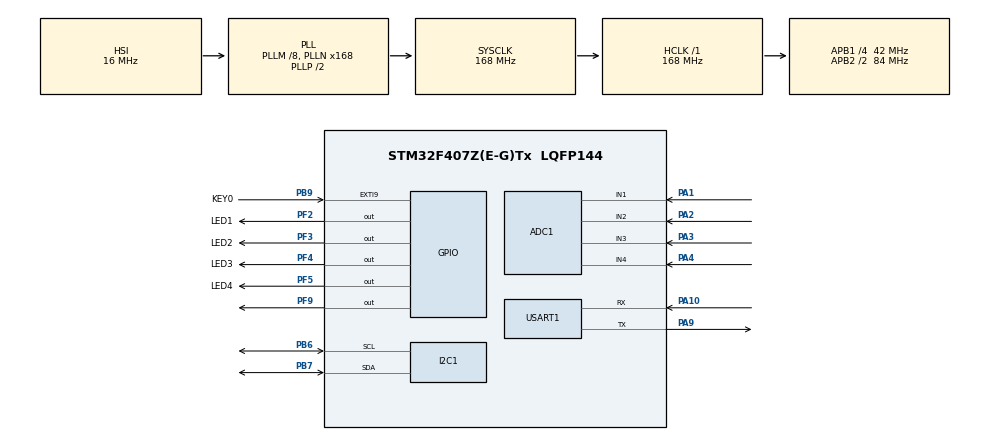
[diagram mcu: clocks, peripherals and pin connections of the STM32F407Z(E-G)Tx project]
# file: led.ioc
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ADC1.Channel-0\#ChannelRegularConversion=ADC_CHANNEL_1
ADC1.Channel-1\#ChannelRegularConversion=ADC_CHANNEL_2
ADC1.Channel-2\#ChannelRegularConversion=ADC_CHANNEL_3
ADC1.Channel-3\#ChannelRegularConversion=ADC_CHANNEL_4
ADC1.ClockPrescaler=ADC_CLOCK_SYNC_PCLK_DIV6
ADC1.ContinuousConvMode=ENABLE
ADC1.DMAContinuousRequests=ENABLE
ADC1.NbrOfConversion=4
ADC1.NbrOfConversionFlag=1
ADC1.Rank-0\#ChannelRegularConversion=1
ADC1.Rank-1\#ChannelRegularConversion=2
ADC1.Rank-2\#ChannelRegularConversion=3
ADC1.Rank-3\#ChannelRegularConversion=4
ADC1.SamplingTime-0\#ChannelRegularConversion=ADC_SAMPLETIME_28CYCLES
ADC1.SamplingTime-1\#ChannelRegularConversion=ADC_SAMPLETIME_28CYCLES
ADC1.SamplingTime-2\#ChannelRegularConversion=ADC_SAMPLETIME_28CYCLES
ADC1.SamplingTime-3\#ChannelRegularConversion=ADC_SAMPLETIME_28CYCLES
ADC1.master=1
Dma.ADC1.0.Direction=DMA_PERIPH_TO_MEMORY
Dma.ADC1.0.FIFOMode=DMA_FIFOMODE_DISABLE
Dma.ADC1.0.Instance=DMA2_Stream0
Dma.ADC1.0.MemDataAlignment=DMA_MDATAALIGN_WORD
Dma.ADC1.0.MemInc=DMA_MINC_ENABLE
Dma.ADC1.0.Mode=DMA_CIRCULAR
Dma.ADC1.0.PeriphDataAlignment=DMA_PDATAALIGN_WORD
Dma.ADC1.0.PeriphInc=DMA_PINC_DISABLE
Dma.ADC1.0.Priority=DMA_PRIORITY_LOW
Dma.Request0=ADC1
Mcu.Family=STM32F4
Mcu.Name=STM32F407Z(E-G)Tx
Mcu.Package=LQFP144
NVIC.DMA2_Stream0_IRQn=true\:0\:0\:false\:false\:true\:false\:true\:true
NVIC.EXTI9_5_IRQn=true\:14\:0\:true\:false\:true\:true\:true\:true
NVIC.PriorityGroup=NVIC_PRIORITYGROUP_4
NVIC.TIM1_UP_TIM10_IRQn=true\:0\:0\:false\:false\:true\:true\:true\:true
PA1.Signal=ADCx_IN1
PA10.Mode=Asynchronous
PA10.Signal=USART1_RX
PA13.Mode=Serial_Wire
PA13.Signal=SYS_JTMS-SWDIO
PA14.Mode=Serial_Wire
PA14.Signal=SYS_JTCK-SWCLK
PA2.Signal=ADCx_IN2
PA3.Signal=ADCx_IN3
PA4.Signal=ADCx_IN4
PA9.Mode=Asynchronous
PA9.Signal=USART1_TX
PB6.GPIO_Pu=GPIO_PULLUP
PB6.Mode=I2C
PB6.Signal=I2C1_SCL
PB7.GPIO_Pu=GPIO_PULLUP
PB7.Mode=I2C
PB7.Signal=I2C1_SDA
PB9.GPIO_Label=KEY0
PB9.GPIO_ModeDefaultEXTI=GPIO_MODE_IT_FALLING
PB9.GPIO_PuPd=GPIO_PULLUP
PB9.Signal=GPXTI9
PF2.GPIO_Label=LED1
PF2.GPIO_PuPd=GPIO_PULLDOWN
PF2.Signal=GPIO_Output
PF3.GPIO_Label=LED2
PF3.GPIO_PuPd=GPIO_PULLDOWN
PF3.Signal=GPIO_Output
PF4.GPIO_Label=LED3
PF4.GPIO_PuPd=GPIO_PULLDOWN
PF4.Signal=GPIO_Output
PF5.GPIO_Label=LED4
PF5.GPIO_PuPd=GPIO_PULLDOWN
PF5.Signal=GPIO_Output
PF9.GPIO_PuPd=GPIO_NOPULL
PF9.Signal=GPIO_Output
PH0-OSC_IN.Mode=HSE-External-Oscillator
PH0-OSC_IN.Signal=RCC_OSC_IN
PH1-OSC_OUT.Mode=HSE-External-Oscillator
PH1-OSC_OUT.Signal=RCC_OSC_OUT
ProjectManager.HeapSize=0x200
ProjectManager.StackSize=0x400
ProjectManager.TargetToolchain=MDK-ARM V5.32
RCC.48MHZClocksFreq_Value=84000000
RCC.AHBFreq_Value=168000000
RCC.APB1CLKDivider=RCC_HCLK_DIV4
RCC.APB1Freq_Value=42000000
RCC.APB1TimFreq_Value=84000000
RCC.APB2CLKDivider=RCC_HCLK_DIV2
RCC.APB2Freq_Value=84000000
RCC.APB2TimFreq_Value=168000000
RCC.CortexFreq_Value=168000000
RCC.HCLKFreq_Value=168000000
RCC.HSE_VALUE=25000000
RCC.HSI_VALUE=16000000
RCC.PLLM=8
RCC.PLLN=168
RCC.SYSCLKFreq_VALUE=168000000
RCC.SYSCLKSource=RCC_SYSCLKSOURCE_PLLCLK
RCC.VCOOutputFreq_Value=336000000
SH.ADCx_IN1.0=ADC1_IN1,IN1
SH.ADCx_IN2.0=ADC1_IN2,IN2
SH.ADCx_IN3.0=ADC1_IN3,IN3
SH.ADCx_IN4.0=ADC1_IN4,IN4
TIM1.AutoReloadPreload=TIM_AUTORELOAD_PRELOAD_ENABLE
TIM1.Period=10-1
TIM1.Prescaler=168-1
USART1.VirtualMode=VM_ASYNC
VP_TIM1_VS_ClockSourceINT.Mode=Internal
board=custom

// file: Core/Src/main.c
/* USER CODE BEGIN Header */
/**
  ******************************************************************************
  * @file           : main.c
  * @brief          : Main program body
  ******************************************************************************
  * @attention
  *
  * Copyright (c) 2023 STMicroelectronics.
  * All rights reserved.
  *
  * This software is licensed under terms that can be found in the LICENSE file
  * in the root directory of this software component.
  * If no LICENSE file comes with this software, it is provided AS-IS.
  *
  ******************************************************************************
  */
/* USER CODE END Header */
#include "main.h"
#include "adc.h"
#include "dma.h"
#include "i2c.h"
#include "tim.h"
#include "usart.h"
#include "gpio.h"

/* USER CODE BEGIN Includes */
#include "stdio.h"
#include "string.h"
#include "exti.h"
#include "stdlib.h"
#include "TDOA.h"
#include "oled.h"
/* USER CODE END Includes */

/* USER CODE BEGIN PD */
#define LENGTH 30
/* USER CODE END PD */

/* USER CODE BEGIN PV */
uint8_t key=0;
uint8_t str[10];

extern DMA_HandleTypeDef hdma_adc1;

uint32_t a1[4];
uint64_t T_count;

uint8_t x[16];
uint8_t y[16];
/* USER CODE END PV */

void SystemClock_Config(void);

int main(void)
{

  /* MCU Configuration--------------------------------------------------------*/

  /* Reset of all peripherals, Initializes the Flash interface and the Systick. */
  HAL_Init();

  /* Configure the system clock */
  SystemClock_Config();

  /* Initialize all configured peripherals */
  MX_GPIO_Init();
  MX_DMA_Init();
  MX_I2C1_Init();
  MX_USART1_UART_Init();
  MX_TIM1_Init();
  MX_ADC1_Init();
  /* USER CODE BEGIN 2 */

	TDOA_Init(&TDOA_S);

	HAL_TIM_Base_Start_IT(&htim1);

    HAL_ADC_Start_DMA(&hadc1,(uint32_t*)&a1,(uint32_t)4);
    MIT_init();

    HAL_Delay(200);
    uint8_t A[]="x:";
    uint8_t B[]="y:";

	uint8_t x[]="--------------->";
	uint8_t y1[]="^";
    uint8_t y[]="|";

  OLED_Display_On();
  OLED_Clear();
  OLED_Init();
  OLED_ShowString(0,0,A,sizeof(A));
  OLED_ShowString(0,6,B,sizeof(B));

  OLED_ShowString(0,4,x,sizeof(x));
  OLED_ShowString(10*6,0,y1,sizeof(y1));
  OLED_ShowString(10*6,1,y,sizeof(y));
  OLED_ShowString(10*6,2,y,sizeof(y));
  OLED_ShowString(10*6,3,y,sizeof(y));
  OLED_ShowString(10*6,4,y,sizeof(y));
  OLED_ShowString(10*6,5,y,sizeof(y));
  OLED_ShowString(10*6,6,y,sizeof(y));

  HAL_Delay(500);
  /* USER CODE END 2 */

  /* Infinite loop */
  while (1)
  {

    /* USER CODE BEGIN 3 */

//		if(key==0)
//		{
//		HAL_GPIO_TogglePin(GPIOF,GPIO_PIN_9);
//
//			HAL_Delay(100);
//		}
//		else
//		{
//		HAL_GPIO_WritePin(GPIOF, GPIO_PIN_9, GPIO_PIN_SET);
//		}

	if(MIT1_S.mit_flag&&MIT2_S.mit_flag&&MIT3_S.mit_flag&&MIT4_S.mit_flag)
		{
			TDOA_Get_distanceANDangle(&TDOA_S);
			sprintf((char*)x,"%4.2lf",TDOA_S.x);
            sprintf((char*)y,"%4.2lf",TDOA_S.y);
            OLED_ShowString(10*8,0,x,16);
            OLED_ShowString(10*8,6,y,16);

            HAL_Delay(500);
						T_count=0;
						MIT1_S.mit_flag=0;
						MIT2_S.mit_flag=0;
						MIT3_S.mit_flag=0;
						MIT4_S.mit_flag=0;
		}
//		printf("a1:%d\r\n",a1[0]);
//		printf("a2:%d\r\n",a1[1]);
//		printf("a3:%d\r\n",a1[2]);
//		printf("a4:%d\r\n",a1[3]);
//		HAL_Delay(100);

  }

  /* USER CODE END 3 */
}

void SystemClock_Config(void)
{
  RCC_OscInitTypeDef RCC_OscInitStruct = {0};
  RCC_ClkInitTypeDef RCC_ClkInitStruct = {0};

  /** Configure the main internal regulator output voltage
  */
  __HAL_RCC_PWR_CLK_ENABLE();
  __HAL_PWR_VOLTAGESCALING_CONFIG(PWR_REGULATOR_VOLTAGE_SCALE1);

  /** Initializes the RCC Oscillators according to the specified parameters
  * in the RCC_OscInitTypeDef structure.
  */
  RCC_OscInitStruct.OscillatorType = RCC_OSCILLATORTYPE_HSI;
  RCC_OscInitStruct.HSIState = RCC_HSI_ON;
  RCC_OscInitStruct.HSICalibrationValue = RCC_HSICALIBRATION_DEFAULT;
  RCC_OscInitStruct.PLL.PLLState = RCC_PLL_ON;
  RCC_OscInitStruct.PLL.PLLSource = RCC_PLLSOURCE_HSI;
  RCC_OscInitStruct.PLL.PLLM = 8;
  RCC_OscInitStruct.PLL.PLLN = 168;
  RCC_OscInitStruct.PLL.PLLP = RCC_PLLP_DIV2;
  RCC_OscInitStruct.PLL.PLLQ = 4;
  if (HAL_RCC_OscConfig(&RCC_OscInitStruct) != HAL_OK)
  {
    Error_Handler();
  }

  /** Initializes the CPU, AHB and APB buses clocks
  */
  RCC_ClkInitStruct.ClockType = RCC_CLOCKTYPE_HCLK|RCC_CLOCKTYPE_SYSCLK
                              |RCC_CLOCKTYPE_PCLK1|RCC_CLOCKTYPE_PCLK2;
  RCC_ClkInitStruct.SYSCLKSource = RCC_SYSCLKSOURCE_PLLCLK;
  RCC_ClkInitStruct.AHBCLKDivider = RCC_SYSCLK_DIV1;
  RCC_ClkInitStruct.APB1CLKDivider = RCC_HCLK_DIV4;
  RCC_ClkInitStruct.APB2CLKDivider = RCC_HCLK_DIV2;

  if (HAL_RCC_ClockConfig(&RCC_ClkInitStruct, FLASH_LATENCY_5) != HAL_OK)
  {
    Error_Handler();
  }
}

/* USER CODE BEGIN 4 */
void HAL_GPIO_EXTI_Callback( uint16_t GPIO_pin)
	{
		if(GPIO_pin==KEY0_Pin)
		{

			key++;
			if(key>1)
			{
				key=0;
			}
		}

	}

	void HAL_TIM_PeriodElapsedCallback(TIM_HandleTypeDef *htim)
	{
		if(htim->Instance == TIM1)
		{
          if(a1[0]>3500&&MIT1_S.mit_flag==0){
             MIT1_S.mit_flag=1;
             MIT1_S.mit_count= T_count;
             }
          else if(a1[1]>3500&&MIT2_S.mit_flag==0){
             MIT2_S.mit_flag=1;
             MIT2_S.mit_count= T_count;
            }
          else if(a1[2]>3500&&MIT3_S.mit_flag==0){
             MIT3_S.mit_flag=1;
             MIT3_S.mit_count= T_count;
            }
		  else if(a1[3]>3500&&MIT4_S.mit_flag==0){
             MIT4_S.mit_flag=1;
             MIT4_S.mit_count= T_count;
            }

		    T_count++;
		}
}
/* USER CODE END 4 */

void Error_Handler(void)
{
  __disable_irq();
  while (1)
  {
  }
}
